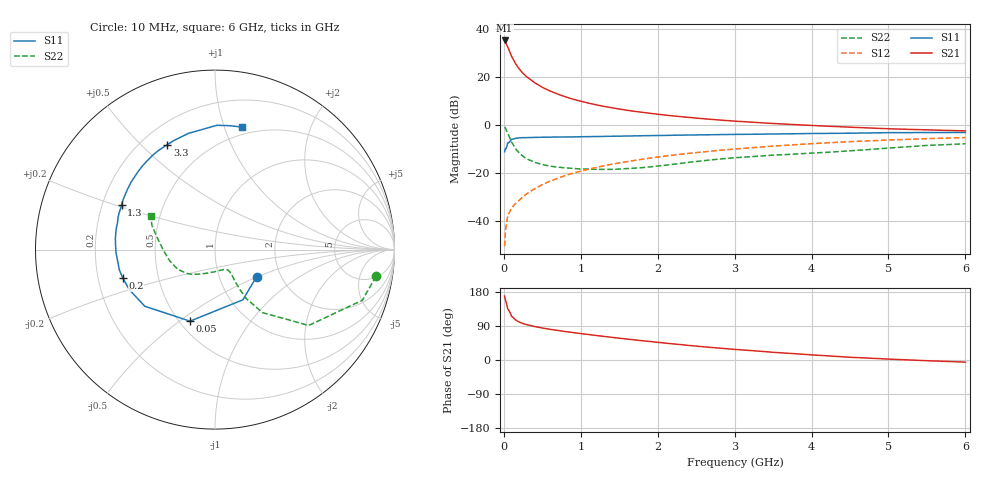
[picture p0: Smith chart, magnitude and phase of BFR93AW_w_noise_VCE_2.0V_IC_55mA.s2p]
! Infineon Technologies  Discrete & RF Semiconductors
! BFR93AW
! VCE =  2.0 V,  IC =  55 mA
! Common Emitter S-Parameters:  Jan 2017
# GHz  S  MA  R  50
!  f  S11  S21  S12  S22
! GHz  MAG  ANG  MAG  ANG  MAG  ANG  MAG  ANG
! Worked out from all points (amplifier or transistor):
!   77 points, 10 MHz to 6 GHz, reference 50 ohm
!   highest |S21| = 35.2 dB at 10 MHz (marker M1)
!   |S21| within 3 dB of that: start of sweep to 54.15 MHz
!   unconditionally stable (mu >= 1): 293.9 MHz to 2.482 GHz
!   at 130 MHz: K = 0.73, MSG = 30.2 dB, |S12| = -33.5 dB
!   at 2.2 GHz: K = 1.02, MAG = 7.3 dB, |S12| = -12.6 dB
!   at 6 GHz: K = 0.95, MSG = 1.4 dB, |S12| = -5.2 dB
!   lowest NFmin = 2.42 dB at 450 MHz
!   S11 on the Smith chart (normalised r, x): 10 MHz: 1.50, -0.49; 50 MHz: 0.56, -0.55; 200 MHz: 0.31, -0.14; 1.3 GHz: 0.28, +0.21; 3.3 GHz: 0.30, +0.60; 6 GHz: 0.43, +1.14
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0.01  0.2767 -33.3  57.39 168.9  0.003 75.2  0.9092 -9.4
0.02  0.32 -60.9  55.16 158.7  0.0059 76.2  0.8681 -19.0
0.05  0.4222 -109.2  42.03 135.1  0.0125 61.6  0.6714 -39.0
0.1  0.5027 -141.1  26.86 115.4  0.0184 59.4  0.4403 -53.0
0.15  0.527 -155.0  19.05 106.0  0.023 60.0  0.3235 -57.4
0.2  0.5379 -162.8  14.63 100.2  0.027 62.9  0.2607 -58.1
0.25  0.545 -168.2  11.88 96.0  0.0323 65.2  0.2225 -57.8
0.3  0.5454 -172.2  9.955 93.0  0.0371 67.1  0.1962 -57.3
0.4  0.5512 -177.9  7.558 88.2  0.0467 69.9  0.1671 -56.4
0.5  0.5546 177.6  6.075 84.4  0.0573 71.2  0.1499 -56.3
0.6  0.5584 173.7  5.101 81.0  0.0675 72.2  0.1392 -57.0
0.7  0.5602 170.6  4.389 78.1  0.0775 72.5  0.1324 -58.4
0.9  0.5632 164.6  3.436 72.4  0.0992 72.0  0.1244 -63.2
1.1  0.572 159.1  2.852 67.3  0.1197 71.0  0.1208 -69.8
1.3  0.5776 154.3  2.44 62.3  0.1409 69.7  0.1192 -77.5
1.7  0.5925 145.2  1.921 53.1  0.1827 66.5  0.1261 -96.1
2.1  0.6059 136.7  1.606 44.6  0.2248 62.4  0.1454 -113.7
3.1  0.6373 117.9  1.175 26.6  0.3245 51.6  0.2126 -143.4
3.3  0.6421 114.4  1.122 23.6  0.3434 49.3  0.2234 -148.2
4.1  0.6654 101.3  0.961 12.3  0.4159 40.1  0.2644 -169.0
5.1  0.6926 87.9  0.824 1.6  0.492 28.5  0.3385 166.0
6  0.6987 77.8  0.753 -5.6  0.5469 18.3  0.4059 152.2
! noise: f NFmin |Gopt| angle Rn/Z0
0.45  2.42  0.28  -177  0.18
0.9  2.73  0.33  -166  0.19
1.9  3.88  0.54  -131  0.46
2.4  4.64  0.58  -122  0.86
